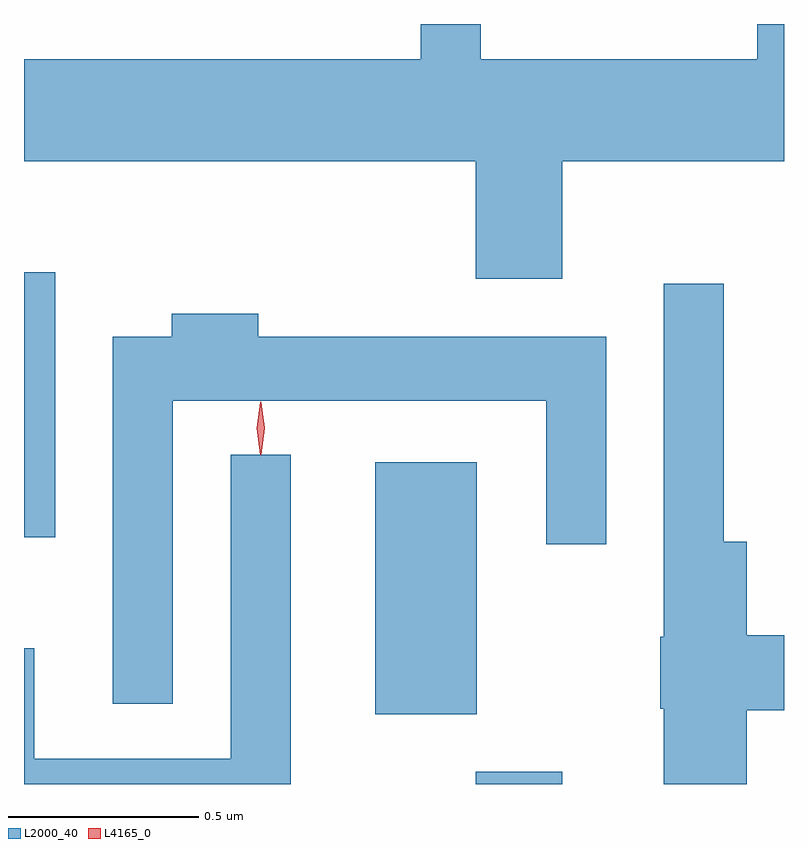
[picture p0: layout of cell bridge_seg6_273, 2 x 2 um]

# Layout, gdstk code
import gdstk
lib = gdstk.Library(unit=1e-6, precision=1e-09)
def R(c, l, rs):  # rectangles x0, y0, x1, y1
    for r in rs: c.add(gdstk.rectangle(r[:2], r[2:], *l))
def P(c, l, *ps):  # polygons
    for p in ps: c.add(gdstk.Polygon(p, *l))
L2000_40 = (2000, 40)
L4165_0 = (4165, 0)

bridge_seg6_273 = lib.new_cell('bridge_seg6_273')
R(bridge_seg6_273, L2000_40, [(1230.431,1590.577,1230.659,1590.609), (1230.166,1590.761,1230.434,1591.424), (1229.242,1591.226,1229.324,1591.924)])
P(bridge_seg6_273, L2000_40, [(1230.659,1592.216),(1231.242,1592.216),(1231.242,1592.577),(1231.171,1592.577),(1231.171,1592.484),(1230.444,1592.484),(1230.444,1592.577),(1230.286,1592.577),(1230.286,1592.484),(1229.242,1592.484),(1229.242,1592.216),(1230.431,1592.216),(1230.431,1591.906),(1230.659,1591.906)],
  [(1231.144,1590.771),(1231.242,1590.771),(1231.242,1590.969),(1231.144,1590.969),(1231.144,1591.214),(1231.084,1591.214),(1231.084,1591.893),(1230.926,1591.893),(1230.926,1590.965),(1230.916,1590.965),(1230.916,1590.775),(1230.926,1590.775),(1230.926,1590.577),(1231.144,1590.577)],
  [(1229.634,1591.586),(1230.616,1591.586),(1230.616,1591.208),(1230.774,1591.208),(1230.774,1591.754),(1229.859,1591.754),(1229.859,1591.814),(1229.631,1591.814),(1229.631,1591.754),(1229.476,1591.754),(1229.476,1590.788),(1229.634,1590.788)],
  [(1229.944,1591.443),(1229.786,1591.443),(1229.786,1590.644),(1229.269,1590.644),(1229.269,1590.934),(1229.242,1590.934),(1229.242,1590.577),(1229.944,1590.577)])
P(bridge_seg6_273, L4165_0, [(1229.866,1591.447),(1229.866,1591.447),(1229.856,1591.514),(1229.866,1591.58),(1229.866,1591.58),(1229.866,1591.58),(1229.876,1591.514),(1229.866,1591.447)],
  [(1229.864,1591.444),(1229.855,1591.513),(1229.864,1591.582),(1229.865,1591.583),(1229.866,1591.582),(1229.875,1591.513),(1229.866,1591.444),(1229.865,1591.444)])

lib.write_gds('bridge_seg6_273.gds')
